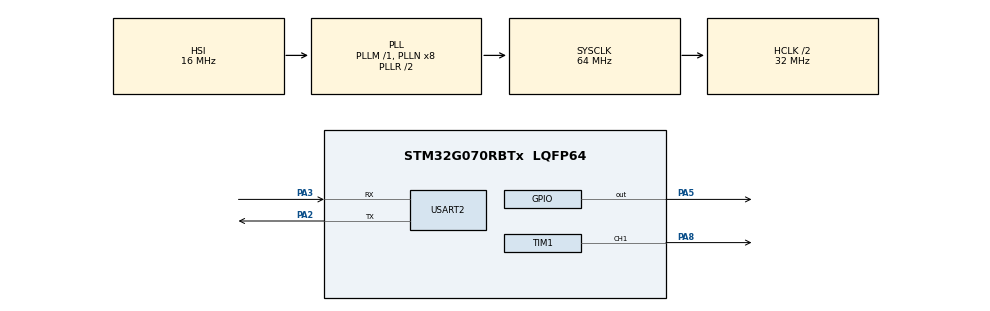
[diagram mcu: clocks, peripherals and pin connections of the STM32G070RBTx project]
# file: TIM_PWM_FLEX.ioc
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Dma.Request0=TIM1_CH1
Dma.TIM1_CH1.0.Direction=DMA_MEMORY_TO_PERIPH
Dma.TIM1_CH1.0.EventEnable=DISABLE
Dma.TIM1_CH1.0.Instance=DMA1_Channel1
Dma.TIM1_CH1.0.MemDataAlignment=DMA_MDATAALIGN_WORD
Dma.TIM1_CH1.0.MemInc=DMA_MINC_ENABLE
Dma.TIM1_CH1.0.Mode=DMA_CIRCULAR
Dma.TIM1_CH1.0.PeriphDataAlignment=DMA_PDATAALIGN_WORD
Dma.TIM1_CH1.0.PeriphInc=DMA_PINC_DISABLE
Dma.TIM1_CH1.0.Polarity=HAL_DMAMUX_REQ_GEN_RISING
Dma.TIM1_CH1.0.Priority=DMA_PRIORITY_HIGH
Dma.TIM1_CH1.0.RequestNumber=1
Dma.TIM1_CH1.0.SignalID=NONE
Dma.TIM1_CH1.0.SyncEnable=DISABLE
Dma.TIM1_CH1.0.SyncPolarity=HAL_DMAMUX_SYNC_NO_EVENT
Dma.TIM1_CH1.0.SyncRequestNumber=1
Dma.TIM1_CH1.0.SyncSignalID=NONE
Mcu.Family=STM32G0
Mcu.Name=STM32G070RBTx
Mcu.Package=LQFP64
NVIC.DMA1_Channel1_IRQn=true\:0\:0\:false\:false\:true\:false\:true\:true
NVIC.USART2_IRQn=true\:0\:0\:false\:false\:true\:true\:true\:true
PA13.Mode=Serial_Wire
PA13.Signal=SYS_SWDIO
PA14-BOOT0.Mode=Serial_Wire
PA14-BOOT0.Signal=SYS_SWCLK
PA2.Mode=Asynchronous
PA2.Signal=USART2_TX
PA3.Mode=Asynchronous
PA3.Signal=USART2_RX
PA5.Signal=GPIO_Output
PA8.Signal=S_TIM1_CH1
ProjectManager.HeapSize=0x200
ProjectManager.StackSize=0x400
ProjectManager.TargetToolchain=STM32CubeIDE
RCC.ADCFreq_Value=64000000
RCC.AHBCLKDivider=RCC_SYSCLK_DIV2
RCC.AHBFreq_Value=32000000
RCC.CortexFreq_Value=32000000
RCC.EXTERNAL_CLOCK_VALUE=48000
RCC.HCLKFreq_Value=32000000
RCC.HSE_VALUE=8000000
RCC.HSI_VALUE=16000000
RCC.LSE_VALUE=32768
RCC.SYSCLKFreq_VALUE=64000000
RCC.SYSCLKSource=RCC_SYSCLKSOURCE_PLLCLK
RCC.VCOOutputFreq_Value=128000000
SH.S_TIM1_CH1.0=TIM1_CH1,PWM Generation1 CH1
TIM1.Channel-PWM\ Generation1\ CH1=TIM_CHANNEL_1
TIM1.Period=999
TIM1.Prescaler=0
TIM1.Pulse-PWM\ Generation1\ CH1=500
USART2.VirtualMode-Asynchronous=VM_ASYNC
VP_SYS_VS_DBSignals.Mode=DisableDeadBatterySignals
board=custom

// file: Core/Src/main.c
/* USER CODE BEGIN Header */
/**
  ******************************************************************************
  * @file           : main.c
  * @brief          : Main program body
  ******************************************************************************
  * @attention
  *
  * Copyright (c) 2022 STMicroelectronics.
  * All rights reserved.
  *
  * This software is licensed under terms that can be found in the LICENSE file
  * in the root directory of this software component.
  * If no LICENSE file comes with this software, it is provided AS-IS.
  *
  ******************************************************************************
  */
/* USER CODE END Header */
#include "main.h"

/* USER CODE BEGIN Includes */
#include <stdio.h>
#include <math.h>
/* USER CODE END Includes */

/* USER CODE BEGIN PD */

#define PUTCHAR_PROTOTYPE int __io_putchar(uint8_t ch)

/* USER CODE END PD */

 TIM_HandleTypeDef htim1;
DMA_HandleTypeDef hdma_tim1_ch1;

UART_HandleTypeDef huart2;

/* USER CODE BEGIN PV */

__IO ITStatus UARTSTATUS = SET;
__IO uint8_t rxBuffer[5];

__IO int stateM = 0;

uint8_t frequencia;
uint16_t amplitude, pontos;
float offset;

/* USER CODE END PV */

void SystemClock_Config(void);
static void MX_GPIO_Init(void);
static void MX_USART2_UART_Init(void);
static void MX_DMA_Init(void);
static void MX_TIM1_Init(void);

int main(void)
{

  /* MCU Configuration--------------------------------------------------------*/

  /* Reset of all peripherals, Initializes the Flash interface and the Systick. */
  HAL_Init();

  /* Initialize all configured peripherals */
  MX_GPIO_Init();
  MX_USART2_UART_Init();
  MX_DMA_Init();
  MX_TIM1_Init();
  /* USER CODE BEGIN 2 */

  HAL_TIM_PWM_Start(&htim1, TIM_CHANNEL_1);

  UARTSTATUS = RESET;

  while(stateM == 0){

	  UARTSTATUS = RESET;

	  printf("Amplitude em Volts:\r\n");

	  HAL_UART_Receive_IT(&huart2, (uint8_t *)rxBuffer, 1);

	  while(!UARTSTATUS){
	  }

	  amplitude = rxBuffer[0] - 48;

	  if(amplitude > 0 && amplitude < 4){
		  stateM = 1;
	  }

  }

  while(stateM == 1){

	  UARTSTATUS = RESET;

	  printf("Offset em volts:\r\n");

	  HAL_UART_Receive_IT(&huart2, (uint8_t *)rxBuffer, 2);

	  while(!UARTSTATUS){
	  }

	  offset = (rxBuffer[0]-48)*1+(rxBuffer[1]-48)*0.1;

	  if(offset > 2){
		  stateM = 2;
	  }

  }

  while(stateM == 2){

	  UARTSTATUS = RESET;

	  printf("Frequência em Hertz:\r\n");

	  HAL_UART_Receive_IT(&huart2, (uint8_t *)rxBuffer, 3);

	  while(!UARTSTATUS){
	  }

	  frequencia = (rxBuffer[0] - 48)*100 + (rxBuffer[1] - 48)*10 + rxBuffer[2] - 48;

	  if(frequencia > 0 && frequencia < 300){
		  stateM = 3;
	  }
  }

  pontos = (uint16_t) (16000/frequencia);
  __IO uint32_t sinBuffer[pontos];

  amplitude = (uint16_t)(1000*amplitude/6);

  int i;

  for(i = 0; i < pontos; i++){
	  sinBuffer[i] = (uint32_t)(amplitude*sin(2*M_PI*i/pontos)+500);
  }

  //HAL_TIM_PWM_Start_DMA(&htim1, TIM_CHANNEL_1, (uint32_t *)sinBuffer, pontos);

  /* USER CODE END 2 */

  /* Infinite loop */
  /* USER CODE BEGIN WHILE */
  while (1)
  {
	  HAL_GPIO_TogglePin(GPIOA, GPIO_PIN_5);
	  HAL_Delay(200);
    /* USER CODE END WHILE */

  }
}

void SystemClock_Config(void)
{
  RCC_OscInitTypeDef RCC_OscInitStruct = {0};
  RCC_ClkInitTypeDef RCC_ClkInitStruct = {0};

  /** Configure the main internal regulator output voltage
  */
  HAL_PWREx_ControlVoltageScaling(PWR_REGULATOR_VOLTAGE_SCALE1);

  /** Initializes the RCC Oscillators according to the specified parameters
  * in the RCC_OscInitTypeDef structure.
  */
  RCC_OscInitStruct.OscillatorType = RCC_OSCILLATORTYPE_HSI;
  RCC_OscInitStruct.HSIState = RCC_HSI_ON;
  RCC_OscInitStruct.HSIDiv = RCC_HSI_DIV1;
  RCC_OscInitStruct.HSICalibrationValue = RCC_HSICALIBRATION_DEFAULT;
  RCC_OscInitStruct.PLL.PLLState = RCC_PLL_ON;
  RCC_OscInitStruct.PLL.PLLSource = RCC_PLLSOURCE_HSI;
  RCC_OscInitStruct.PLL.PLLM = RCC_PLLM_DIV1;
  RCC_OscInitStruct.PLL.PLLN = 8;
  RCC_OscInitStruct.PLL.PLLP = RCC_PLLP_DIV2;
  RCC_OscInitStruct.PLL.PLLR = RCC_PLLR_DIV2;
  if (HAL_RCC_OscConfig(&RCC_OscInitStruct) != HAL_OK)
  {
    Error_Handler();
  }

  /** Initializes the CPU, AHB and APB buses clocks
  */
  RCC_ClkInitStruct.ClockType = RCC_CLOCKTYPE_HCLK|RCC_CLOCKTYPE_SYSCLK
                              |RCC_CLOCKTYPE_PCLK1;
  RCC_ClkInitStruct.SYSCLKSource = RCC_SYSCLKSOURCE_PLLCLK;
  RCC_ClkInitStruct.AHBCLKDivider = RCC_SYSCLK_DIV2;
  RCC_ClkInitStruct.APB1CLKDivider = RCC_HCLK_DIV1;

  if (HAL_RCC_ClockConfig(&RCC_ClkInitStruct, FLASH_LATENCY_1) != HAL_OK)
  {
    Error_Handler();
  }
}

static void MX_TIM1_Init(void)
{

  TIM_MasterConfigTypeDef sMasterConfig = {0};
  TIM_OC_InitTypeDef sConfigOC = {0};
  TIM_BreakDeadTimeConfigTypeDef sBreakDeadTimeConfig = {0};

  htim1.Instance = TIM1;
  htim1.Init.Prescaler = 0;
  htim1.Init.CounterMode = TIM_COUNTERMODE_UP;
  htim1.Init.Period = 999;
  htim1.Init.ClockDivision = TIM_CLOCKDIVISION_DIV1;
  htim1.Init.RepetitionCounter = 0;
  htim1.Init.AutoReloadPreload = TIM_AUTORELOAD_PRELOAD_DISABLE;
  if (HAL_TIM_PWM_Init(&htim1) != HAL_OK)
  {
    Error_Handler();
  }
  sMasterConfig.MasterOutputTrigger = TIM_TRGO_RESET;
  sMasterConfig.MasterOutputTrigger2 = TIM_TRGO2_RESET;
  sMasterConfig.MasterSlaveMode = TIM_MASTERSLAVEMODE_DISABLE;
  if (HAL_TIMEx_MasterConfigSynchronization(&htim1, &sMasterConfig) != HAL_OK)
  {
    Error_Handler();
  }
  sConfigOC.OCMode = TIM_OCMODE_PWM1;
  sConfigOC.Pulse = 500;
  sConfigOC.OCPolarity = TIM_OCPOLARITY_HIGH;
  sConfigOC.OCNPolarity = TIM_OCNPOLARITY_HIGH;
  sConfigOC.OCFastMode = TIM_OCFAST_DISABLE;
  sConfigOC.OCIdleState = TIM_OCIDLESTATE_RESET;
  sConfigOC.OCNIdleState = TIM_OCNIDLESTATE_RESET;
  if (HAL_TIM_PWM_ConfigChannel(&htim1, &sConfigOC, TIM_CHANNEL_1) != HAL_OK)
  {
    Error_Handler();
  }
  sBreakDeadTimeConfig.OffStateRunMode = TIM_OSSR_DISABLE;
  sBreakDeadTimeConfig.OffStateIDLEMode = TIM_OSSI_DISABLE;
  sBreakDeadTimeConfig.LockLevel = TIM_LOCKLEVEL_OFF;
  sBreakDeadTimeConfig.DeadTime = 0;
  sBreakDeadTimeConfig.BreakState = TIM_BREAK_DISABLE;
  sBreakDeadTimeConfig.BreakPolarity = TIM_BREAKPOLARITY_HIGH;
  sBreakDeadTimeConfig.BreakFilter = 0;
  sBreakDeadTimeConfig.BreakAFMode = TIM_BREAK_AFMODE_INPUT;
  sBreakDeadTimeConfig.Break2State = TIM_BREAK2_DISABLE;
  sBreakDeadTimeConfig.Break2Polarity = TIM_BREAK2POLARITY_HIGH;
  sBreakDeadTimeConfig.Break2Filter = 0;
  sBreakDeadTimeConfig.Break2AFMode = TIM_BREAK_AFMODE_INPUT;
  sBreakDeadTimeConfig.AutomaticOutput = TIM_AUTOMATICOUTPUT_DISABLE;
  if (HAL_TIMEx_ConfigBreakDeadTime(&htim1, &sBreakDeadTimeConfig) != HAL_OK)
  {
    Error_Handler();
  }
  HAL_TIM_MspPostInit(&htim1);

}

static void MX_USART2_UART_Init(void)
{

  huart2.Instance = USART2;
  huart2.Init.BaudRate = 115200;
  huart2.Init.WordLength = UART_WORDLENGTH_8B;
  huart2.Init.StopBits = UART_STOPBITS_1;
  huart2.Init.Parity = UART_PARITY_NONE;
  huart2.Init.Mode = UART_MODE_TX_RX;
  huart2.Init.HwFlowCtl = UART_HWCONTROL_NONE;
  huart2.Init.OverSampling = UART_OVERSAMPLING_16;
  huart2.Init.OneBitSampling = UART_ONE_BIT_SAMPLE_DISABLE;
  huart2.Init.ClockPrescaler = UART_PRESCALER_DIV1;
  huart2.AdvancedInit.AdvFeatureInit = UART_ADVFEATURE_NO_INIT;
  if (HAL_UART_Init(&huart2) != HAL_OK)
  {
    Error_Handler();
  }
  if (HAL_UARTEx_SetTxFifoThreshold(&huart2, UART_TXFIFO_THRESHOLD_1_8) != HAL_OK)
  {
    Error_Handler();
  }
  if (HAL_UARTEx_SetRxFifoThreshold(&huart2, UART_RXFIFO_THRESHOLD_1_8) != HAL_OK)
  {
    Error_Handler();
  }
  if (HAL_UARTEx_DisableFifoMode(&huart2) != HAL_OK)
  {
    Error_Handler();
  }

}

static void MX_DMA_Init(void)
{

  /* DMA controller clock enable */
  __HAL_RCC_DMA1_CLK_ENABLE();

  /* DMA interrupt init */
  /* DMA1_Channel1_IRQn interrupt configuration */
  HAL_NVIC_SetPriority(DMA1_Channel1_IRQn, 0, 0);
  HAL_NVIC_EnableIRQ(DMA1_Channel1_IRQn);

}

static void MX_GPIO_Init(void)
{
  GPIO_InitTypeDef GPIO_InitStruct = {0};

  /* GPIO Ports Clock Enable */
  __HAL_RCC_GPIOA_CLK_ENABLE();

  /*Configure GPIO pin Output Level */
  HAL_GPIO_WritePin(GPIOA, GPIO_PIN_5, GPIO_PIN_RESET);

  /*Configure GPIO pin : PA5 */
  GPIO_InitStruct.Pin = GPIO_PIN_5;
  GPIO_InitStruct.Mode = GPIO_MODE_OUTPUT_PP;
  GPIO_InitStruct.Pull = GPIO_NOPULL;
  GPIO_InitStruct.Speed = GPIO_SPEED_FREQ_LOW;
  HAL_GPIO_Init(GPIOA, &GPIO_InitStruct);

}

/* USER CODE BEGIN 4 */

PUTCHAR_PROTOTYPE{
	HAL_UART_Transmit(&huart2, (uint8_t *)&ch, 1, 200);
	return ch;
}

void HAL_UART_RxCpltCallback(UART_HandleTypeDef *huart)
{
	UARTSTATUS = SET;
}

/* USER CODE END 4 */

void Error_Handler(void)
{
  __disable_irq();
  while (1)
  {
  }
}
